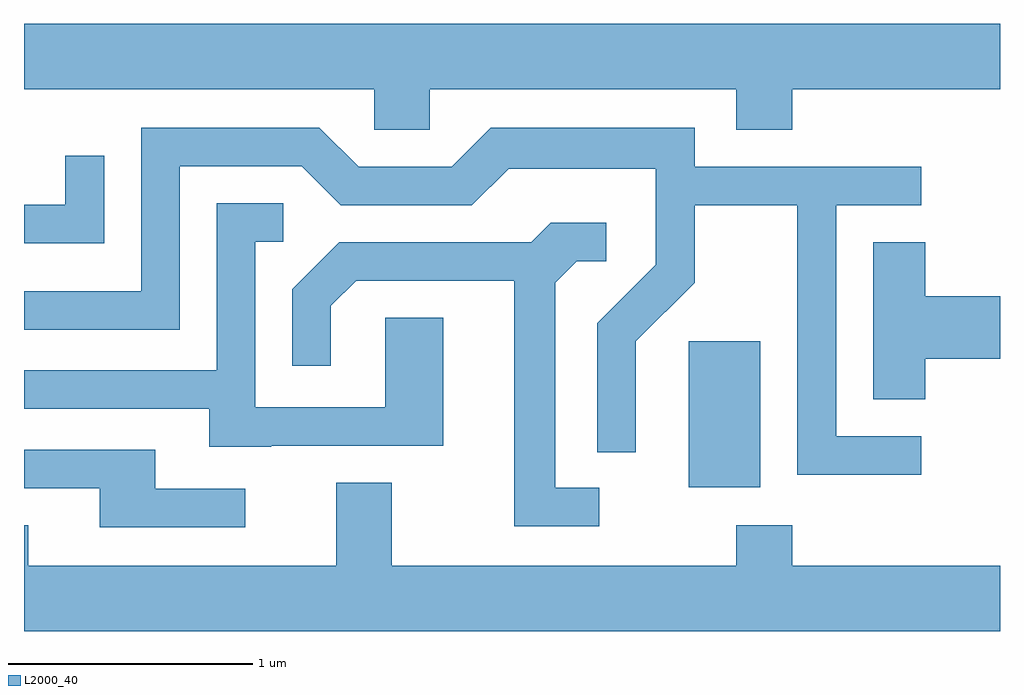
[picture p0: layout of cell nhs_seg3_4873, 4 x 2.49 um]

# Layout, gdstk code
import gdstk
lib = gdstk.Library(unit=1e-6, precision=1e-09)
def R(c, l, rs):  # rectangles x0, y0, x1, y1
    for r in rs: c.add(gdstk.rectangle(r[:2], r[2:], *l))
def P(c, l, *ps):  # polygons
    for p in ps: c.add(gdstk.Polygon(p, *l))
L2000_40 = (2000, 40)

nhs_seg3_4873 = lib.new_cell('nhs_seg3_4873')
R(nhs_seg3_4873, L2000_40, [(330.336,1215.406,330.629,1216.004)])
P(nhs_seg3_4873, L2000_40, [(329.274,1217.036),(330.531,1217.036),(330.531,1216.871),(330.759,1216.871),(330.759,1217.036),(331.611,1217.036),(331.611,1217.304),(327.611,1217.304),(327.611,1217.036),(329.046,1217.036),(329.046,1216.871),(329.274,1216.871)],
  [(331.288,1215.614),(330.939,1215.614),(330.939,1216.561),(331.288,1216.561),(331.288,1216.719),(330.359,1216.719),(330.359,1216.879),(329.524,1216.879),(329.364,1216.719),(328.982,1216.719),(328.822,1216.879),(328.091,1216.879),(328.091,1216.209),(327.611,1216.209),(327.611,1216.051),(328.249,1216.051),(328.249,1216.721),(328.749,1216.721),(328.909,1216.561),(329.447,1216.561),(329.597,1216.711),(330.201,1216.711),(330.201,1216.317),(329.961,1216.077),(329.961,1215.548),(330.119,1215.548),(330.119,1216.004),(330.359,1216.244),(330.359,1216.561),(330.781,1216.561),(330.781,1215.456),(331.288,1215.456)],
  [(327.939,1216.763),(327.781,1216.763),(327.781,1216.564),(327.611,1216.564),(327.611,1216.406),(327.939,1216.406)],
  [(328.625,1215.576),(329.329,1215.576),(329.329,1216.099),(329.091,1216.099),(329.091,1215.734),(328.559,1215.734),(328.559,1216.411),(328.673,1216.411),(328.673,1216.569),(328.401,1216.569),(328.401,1215.884),(327.611,1215.884),(327.611,1215.726),(328.371,1215.726),(328.371,1215.571),(328.625,1215.571)],
  [(329.968,1215.404),(329.789,1215.404),(329.789,1216.244),(329.877,1216.331),(329.998,1216.331),(329.998,1216.489),(329.769,1216.489),(329.689,1216.409),(328.904,1216.409),(328.711,1216.217),(328.711,1215.903),(328.869,1215.903),(328.869,1216.149),(328.972,1216.251),(329.621,1216.251),(329.621,1215.246),(329.968,1215.246)],
  [(331.304,1215.931),(331.611,1215.931),(331.611,1216.189),(331.304,1216.189),(331.304,1216.409),(331.091,1216.409),(331.091,1215.766),(331.304,1215.766)],
  [(328.518,1215.399),(328.149,1215.399),(328.149,1215.559),(327.611,1215.559),(327.611,1215.401),(327.921,1215.401),(327.921,1215.241),(328.518,1215.241)],
  [(331.611,1215.084),(330.759,1215.084),(330.759,1215.249),(330.531,1215.249),(330.531,1215.084),(329.119,1215.084),(329.119,1215.424),(328.891,1215.424),(328.891,1215.084),(327.629,1215.084),(327.629,1215.249),(327.611,1215.249),(327.611,1214.816),(331.611,1214.816)])

lib.write_gds('nhs_seg3_4873.gds')
